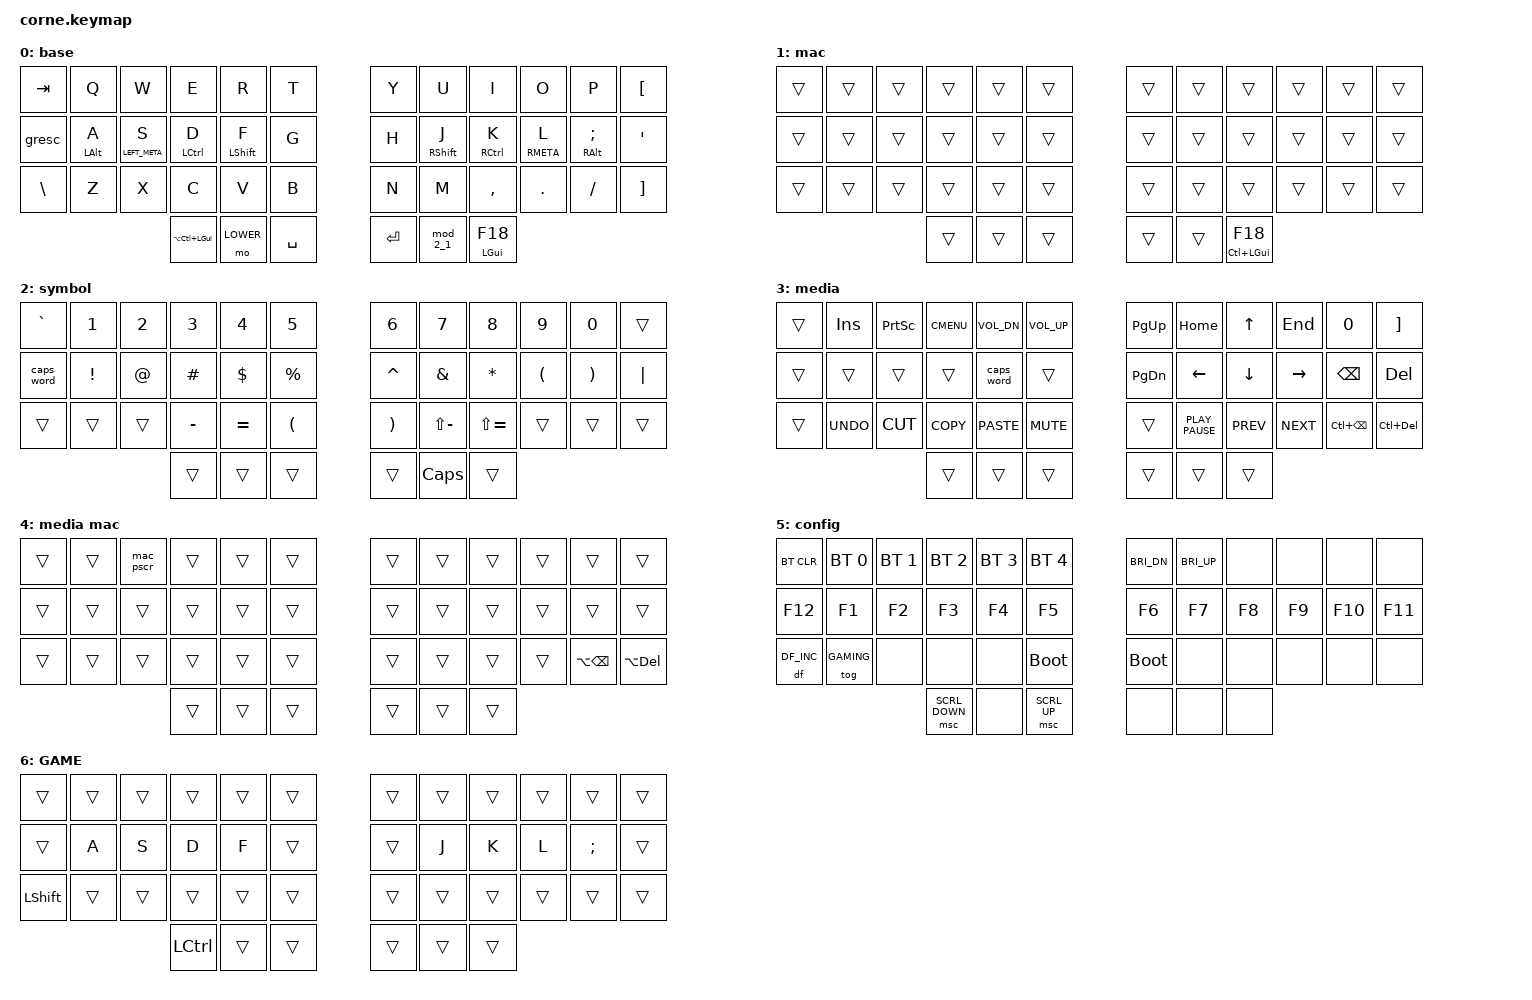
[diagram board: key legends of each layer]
/*
 * Copyright (c) 2020 The ZMK Contributors
 *
 * SPDX-License-Identifier: MIT
 */

#include <behaviors.dtsi>
#include <behaviors/default_layer.dtsi>
#include <dt-bindings/zmk/bt.h>
#include <dt-bindings/zmk/keys.h>
#include <dt-bindings/zmk/pointing.h>
#include <dt-bindings/zmk_behavior_default_layer/default_layer.h>

#define BASE 0
#define MACOS 1
#define LOWER 2
#define RAISE 3
#define RAISE_MACOS 4
#define ADJUST 5
#define GAMING 6

&gresc {
    bindings = <&kp ESC>, <&kp CAPSLOCK>;
};

&caps_word { continue-list = <UNDERSCORE BACKSPACE DELETE COMMA DOT SEMICOLON COLON GREATER_THAN LESS_THAN>; };

/ {
    conditional_layers {
        compatible = "zmk,conditional-layers";

        adjust_layer {
            if-layers = <LOWER RAISE>;
            then-layer = <ADJUST>;
        };

        raise_macos {
            if-layers = <MACOS RAISE>;
            then-layer = <RAISE_MACOS>;
        };
    };

    combos {
        compatible = "zmk,combos";

        combo_bspc {
            timeout-ms = <20>;
            key-positions = <19 20>;
            bindings = <&kp BSPC>;
        };

        combo_alt_bspc {
            timeout-ms = <20>;
            key-positions = <18 19>;
            bindings = <&kp LA(BSPC)>;
        };

        combo_del {
            timeout-ms = <20>;
            key-positions = <15 16>;
            bindings = <&kp DELETE>;
        };

        em_email {
            bindings = <&email_dvorak>;
            key-positions = <31 15>;
            layers = <LOWER>;
        };
    };

    macros {
        email_dvorak: email_dvorak {
            compatible = "zmk,behavior-macro";
            #binding-cells = <0>;
            bindings = <&kp R &kp P &kp S &kp K &kp L &kp G &kp V &kp S &kp DOT &kp A &kp L &kp K &kp S &kp L &kp AT &kp U &kp M &kp A &kp G &kp P &kp E &kp I &kp S &kp M>;
            label = "EMAIL_DVORAK";
            tap-ms = <3>;
        };
    };

    behaviors {
        mod_2_1: mod_2_1 {
            compatible = "zmk,behavior-tap-dance";
            label = "MOD_2_1";
            #binding-cells = <0>;
            tapping-term-ms = <20>;
            bindings = <&mo RAISE>, <&mo LOWER>;
        };

        mod2_f18: mod2_f18 {
            compatible = "zmk,behavior-hold-tap";
            #binding-cells = <2>;
            tapping-term-ms = <200>;
            flavor = "hold-preferred";
            bindings = <&kp>, <&kp>;
        };

        // Ctrl+Shift+Cmd+7 is caught by Hammerspoon (nixos-config-flake, hammerspoon/wm.nix).
        mac_pscr: mac_pscr {
            compatible = "zmk,behavior-mod-morph";
            #binding-cells = <0>;
            bindings = <&kp LC(LS(LG(NUMBER_4)))>, <&kp LC(LS(LG(NUMBER_7)))>;
            mods = <(MOD_LALT|MOD_RALT)>;
        };

        msc {
            acceleration-exponent = <1>;
            time-to-max-speed-ms = <400>;
            delay-ms = <0>;
        };

        hm: homerow_mods {
            compatible = "zmk,behavior-hold-tap";
            #binding-cells = <2>;
            tapping-term-ms = <200>;
            quick-tap-ms = <200>;
            flavor = "balanced";
            bindings = <&kp>, <&kp>;

            require-prior-idle-ms = <125>;
        };
    };

    keymap {
        compatible = "zmk,keymap";

        default {
            label = "base";
            bindings = <
&kp TAB        &kp Q           &kp W            &kp E               &kp R                       &kp T        &kp Y      &kp U        &kp I        &kp O        &kp P          &kp LBKT
&gresc         &hm LEFT_ALT A  &hm LEFT_META S  &hm LEFT_CONTROL D  &hm LEFT_SHIFT F            &kp G        &kp H      &hm RSHFT J  &hm RCTRL K  &hm RMETA L  &hm RALT SEMI  &kp SQT
&kp BACKSLASH  &kp Z           &kp X            &kp C               &kp V                       &kp B        &kp N      &kp M        &kp COMMA    &kp DOT      &kp FSLH       &kp RIGHT_BRACKET
                                                &kp LA(LC(LGUI))            &mo LOWER           &kp SPACE    &kp ENTER  &mod_2_1     &mod2_f18 LGUI F18
            >;
        };

        macos {
            label = "mac";
            bindings = <
&trans  &trans  &trans  &trans  &trans  &trans    &trans  &trans  &trans  &trans  &trans  &trans
&trans  &trans  &trans  &trans  &trans  &trans    &trans  &trans  &trans  &trans  &trans  &trans
&trans  &trans  &trans  &trans  &trans  &trans    &trans  &trans  &trans  &trans  &trans  &trans
                        &trans  &trans  &trans    &trans  &trans  &mod2_f18 LC(LGUI) F18
            >;
        };

        lower {
            label = "symbol";
            bindings = <
&kp GRAVE   &kp N1    &kp N2  &kp N3     &kp N4     &kp N5                  &kp N6                 &kp N7         &kp N8         &kp N9    &kp N0    &trans
&caps_word  &kp EXCL  &kp AT  &kp HASH   &kp DLLR   &kp PRCNT               &kp CARET              &kp AMPS       &kp ASTERISK   &kp LPAR  &kp RPAR  &kp PIPE
&trans      &trans    &trans  &kp MINUS  &kp EQUAL  &kp LEFT_PARENTHESIS    &kp RIGHT_PARENTHESIS  &kp LS(MINUS)  &kp LS(EQUAL)  &trans    &trans    &trans
                              &trans     &trans     &trans                  &trans                 &kp CAPSLOCK   &trans
            >;
        };

        raise {
            label = "media";
            bindings = <
&trans  &kp INS     &kp PRINTSCREEN  &kp K_CMENU  &kp C_VOL_DN  &kp C_VOL_UP    &kp PG_UP  &kp HOME          &kp UP      &kp END     &kp N0             &kp RBKT
&trans  &trans      &trans           &trans       &caps_word    &trans          &kp PG_DN  &kp LEFT          &kp DOWN    &kp RIGHT   &kp BSPC           &kp DEL
&trans  &kp K_UNDO  &kp K_CUT        &kp K_COPY   &kp K_PASTE   &kp C_MUTE      &trans     &kp K_PLAY_PAUSE  &kp K_PREV  &kp K_NEXT  &kp LC(BACKSPACE)  &kp LC(DELETE)
                                     &trans       &trans        &trans          &trans     &trans            &trans
            >;
        };

        raise_macos {
            label = "media mac";
            bindings = <
&trans  &trans  &mac_pscr  &trans  &trans  &trans    &trans  &trans  &trans  &trans  &trans             &trans
&trans  &trans  &trans     &trans  &trans  &trans    &trans  &trans  &trans  &trans  &trans             &trans
&trans  &trans  &trans     &trans  &trans  &trans    &trans  &trans  &trans  &trans  &kp LA(BACKSPACE)  &kp LA(DELETE)
                           &trans  &trans  &trans    &trans  &trans  &trans
            >;
        };

        adjust {
            label = "config";
            bindings = <
&bt BT_CLR  &bt BT_SEL 0  &bt BT_SEL 1  &bt BT_SEL 2    &bt BT_SEL 3  &bt BT_SEL 4    &kp C_BRI_DN  &kp C_BRI_UP  &none   &none   &none    &none
&kp F12     &kp F1        &kp F2        &kp F3          &kp F4        &kp F5          &kp F6        &kp F7        &kp F8  &kp F9  &kp F10  &kp F11
&df DF_INC  &tog GAMING   &none         &none           &none         &bootloader     &bootloader   &none         &none   &none   &none    &none
                                        &msc SCRL_DOWN  &none         &msc SCRL_UP    &none         &none         &none
            >;
        };

        gaming {
            label = "GAME";
            bindings = <
&trans          &trans  &trans  &trans  &trans  &trans    &trans  &trans  &trans  &trans  &trans    &trans
&trans          &kp A   &kp S   &kp D   &kp F   &trans    &trans  &kp J   &kp K   &kp L   &kp SEMI  &trans
&kp LEFT_SHIFT  &trans  &trans  &trans  &trans  &trans    &trans  &trans  &trans  &trans  &trans    &trans
                                &kp LEFT_CONTROL  &trans  &trans    &trans  &trans  &trans
            >;
        };
    };
};
